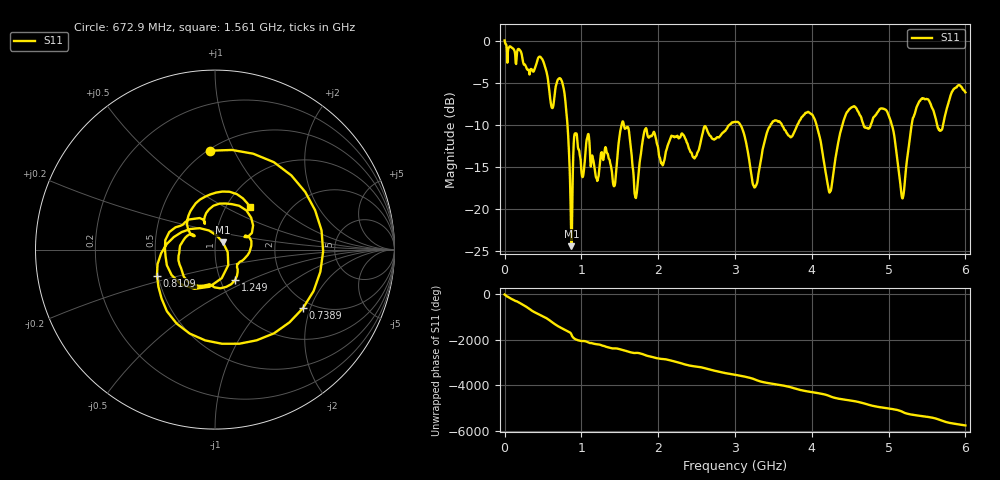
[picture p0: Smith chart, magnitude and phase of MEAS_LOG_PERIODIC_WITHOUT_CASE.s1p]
# GHZ S DB R 50.000000000000
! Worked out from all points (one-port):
!   1001 points, 1 MHz to 6 GHz, reference 50 ohm
!   lowest |S11| = -24.5 dB at 870.9 MHz (marker M1), VSWR 1.13, Z = 54.5 + j4.38 ohm
!   |S11| at or under -10 dB: 819.6 MHz to 1.524 GHz (704.2 MHz wide, 60.1 % of centre); 1.554 GHz to 2.926 GHz (1.372 GHz wide, 61.2 % of centre); 3.072 GHz to 3.464 GHz (392.1 MHz wide, 12 % of centre)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
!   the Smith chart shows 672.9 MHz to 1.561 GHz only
!   S11 on the Smith chart (normalised r, x): 672.9 MHz: 0.51, +0.81; 738.9 MHz: 1.78, -1.78; 810.9 MHz: 0.49, -0.16; 1.249 GHz: 1.17, -0.42; 1.561 GHz: 1.29, +0.67
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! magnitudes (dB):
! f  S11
! 1 MHz  0.1
! 672.9 MHz  -5.2
! 738.9 MHz  -4.6
! 750.9 MHz  -4.9
! 810.9 MHz  -9.0
! 870.9 MHz  -24.5
! 930.8 MHz  -11.1
! 1.249 GHz  -13.8
! 1.429 GHz  -17.3
! 1.501 GHz  -11.1
! 1.561 GHz  -10.3
! 1.711 GHz  -18.7
! 1.831 GHz  -10.5
! 2.053 GHz  -14.6
! 2.251 GHz  -11.3
! 3.001 GHz  -9.6
! 3.258 GHz  -17.4
! 3.474 GHz  -9.8
! 3.75 GHz  -11.3
! 4.014 GHz  -8.9
! 4.236 GHz  -18.0
! 4.5 GHz  -8.0
! 4.974 GHz  -8.3
! 5.178 GHz  -18.8
! 5.25 GHz  -13.5
! 5.418 GHz  -7.0
! 5.67 GHz  -10.7
! 6 GHz  -6.1
